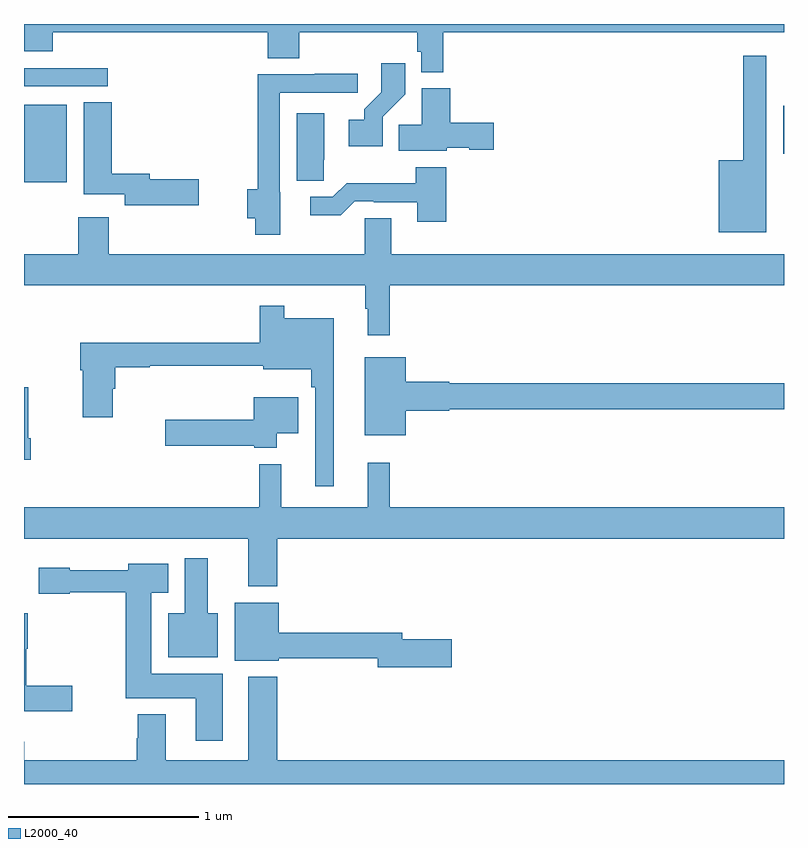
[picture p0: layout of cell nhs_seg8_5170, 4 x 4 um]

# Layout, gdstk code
import gdstk
lib = gdstk.Library(unit=1e-6, precision=1e-09)
def R(c, l, rs):  # rectangles x0, y0, x1, y1
    for r in rs: c.add(gdstk.rectangle(r[:2], r[2:], *l))
def P(c, l, *ps):  # polygons
    for p in ps: c.add(gdstk.Polygon(p, *l))
L2000_40 = (2000, 40)

nhs_seg8_5170 = lib.new_cell('nhs_seg8_5170')
R(nhs_seg8_5170, L2000_40, [(423,1093.067,423.226,1093.474), (426.995,1093.217,427,1093.471), (423,1093.572,423.442,1093.668)])
P(nhs_seg8_5170, L2000_40, [(425.207,1093.856),(427,1093.856),(427,1093.9),(423,1093.9),(423,1093.757),(423.152,1093.757),(423.152,1093.856),(424.283,1093.856),(424.283,1093.72),(424.448,1093.72),(424.448,1093.856),(425.071,1093.856),(425.071,1093.755),(425.091,1093.755),(425.091,1093.646),(425.207,1093.646)],
  [(426.907,1093.732),(426.786,1093.732),(426.786,1093.183),(426.656,1093.183),(426.656,1092.803),(426.907,1092.803)],
  [(424.887,1093.411),(425.006,1093.53),(425.006,1093.693),(424.881,1093.693),(424.881,1093.541),(424.79,1093.451),(424.79,1093.396),(424.71,1093.396),(424.71,1093.256),(424.887,1093.256)],
  [(424.348,1093.014),(424.347,1093.014),(424.347,1093.539),(424.756,1093.539),(424.756,1093.638),(424.531,1093.638),(424.531,1093.635),(424.231,1093.635),(424.231,1093.031),(424.175,1093.031),(424.175,1092.878),(424.218,1092.878),(424.218,1092.792),(424.348,1092.792)],
  [(425.226,1093.25),(425.343,1093.25),(425.343,1093.238),(425.473,1093.238),(425.473,1093.38),(425.243,1093.38),(425.243,1093.561),(425.093,1093.561),(425.093,1093.37),(424.972,1093.37),(424.972,1093.232),(425.226,1093.232)],
  [(423.919,1093.082),(423.661,1093.082),(423.661,1093.111),(423.461,1093.111),(423.461,1093.487),(423.314,1093.487),(423.314,1093.004),(423.53,1093.004),(423.53,1092.947),(423.919,1092.947)],
  [(424.578,1093.186),(424.579,1093.186),(424.579,1093.429),(424.436,1093.429),(424.436,1093.075),(424.578,1093.075)],
  [(425.222,1093.147),(425.062,1093.147),(425.062,1093.063),(424.699,1093.063),(424.626,1092.99),(424.506,1092.99),(424.506,1092.893),(424.667,1092.893),(424.74,1092.966),(424.84,1092.966),(424.84,1092.963),(425.069,1092.963),(425.069,1092.858),(425.222,1092.858)],
  [(424.925,1092.524),(427,1092.524),(427,1092.688),(424.933,1092.688),(424.933,1092.878),(424.794,1092.878),(424.794,1092.688),(423.446,1092.688),(423.446,1092.883),(423.286,1092.883),(423.286,1092.688),(423,1092.688),(423,1092.524),(424.797,1092.524),(424.797,1092.401),(424.808,1092.401),(424.808,1092.261),(424.925,1092.261)],
  [(424.63,1092.352),(424.369,1092.352),(424.369,1092.418),(424.24,1092.418),(424.24,1092.223),(423.296,1092.223),(423.296,1092.077),(423.308,1092.077),(423.308,1091.829),(423.466,1091.829),(423.466,1091.979),(423.479,1091.979),(423.479,1092.094),(423.662,1092.094),(423.662,1092.102),(424.259,1092.102),(424.259,1092.083),(424.513,1092.083),(424.513,1091.987),(424.533,1091.987),(424.533,1091.466),(424.63,1091.466)],
  [(425.008,1091.864),(425.238,1091.864),(425.238,1091.872),(427,1091.872),(427,1092.008),(425.238,1092.008),(425.238,1092.016),(425.008,1092.016),(425.008,1092.145),(424.793,1092.145),(424.793,1091.735),(425.008,1091.735)],
  [(423.035,1091.719),(423.022,1091.719),(423.022,1091.988),(423,1091.988),(423,1091.607),(423.035,1091.607)],
  [(424.33,1091.747),(424.444,1091.747),(424.444,1091.935),(424.208,1091.935),(424.208,1091.817),(423.744,1091.817),(423.744,1091.68),(424.212,1091.68),(424.212,1091.669),(424.33,1091.669)],
  [(423,1091.192),(424.181,1091.192),(424.181,1090.94),(424.334,1090.94),(424.334,1091.192),(427,1091.192),(427,1091.356),(424.925,1091.356),(424.925,1091.59),(424.808,1091.59),(424.808,1091.356),(424.355,1091.356),(424.355,1091.584),(424.237,1091.584),(424.237,1091.356),(423,1091.356)],
  [(424.021,1090.798),(423.967,1090.798),(423.967,1091.089),(423.845,1091.089),(423.845,1090.798),(423.758,1090.798),(423.758,1090.568),(424.021,1090.568)],
  [(424.045,1090.48),(423.67,1090.48),(423.67,1090.907),(423.76,1090.907),(423.76,1091.059),(423.548,1091.059),(423.548,1091.026),(423.24,1091.026),(423.24,1091.038),(423.078,1091.038),(423.078,1090.901),(423.24,1090.901),(423.24,1090.909),(423.536,1090.909),(423.536,1090.352),(423.905,1090.352),(423.905,1090.128),(424.045,1090.128)],
  [(425.251,1090.661),(424.99,1090.661),(424.99,1090.697),(424.342,1090.697),(424.342,1090.855),(424.109,1090.855),(424.109,1090.55),(424.342,1090.55),(424.342,1090.561),(424.862,1090.561),(424.862,1090.514),(425.251,1090.514)],
  [(423.253,1090.418),(423.011,1090.418),(423.011,1090.611),(423.019,1090.611),(423.019,1090.798),(423,1090.798),(423,1090.283),(423.253,1090.283)],
  [(427,1090.024),(424.334,1090.024),(424.334,1090.465),(424.181,1090.465),(424.181,1090.024),(423.745,1090.024),(423.745,1090.267),(423.598,1090.267),(423.598,1090.14),(423.593,1090.14),(423.593,1090.024),(423.002,1090.024),(423.002,1090.123),(423,1090.123),(423,1089.9),(427,1089.9)])

lib.write_gds('nhs_seg8_5170.gds')
